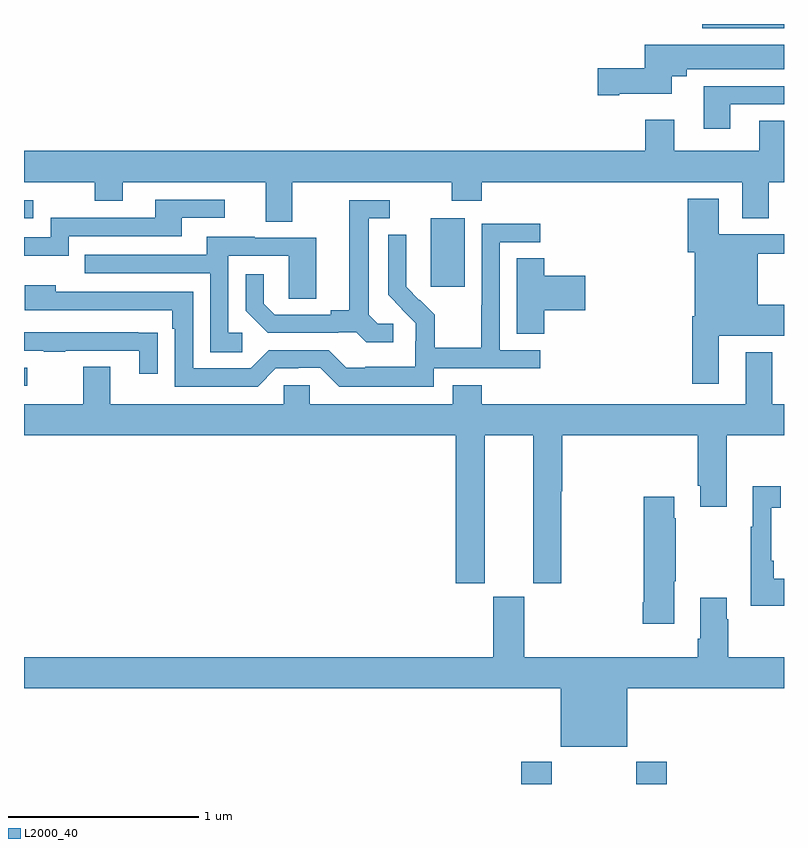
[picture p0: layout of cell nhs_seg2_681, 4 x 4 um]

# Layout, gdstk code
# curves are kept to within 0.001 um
import gdstk
lib = gdstk.Library(unit=1e-6, precision=1e-09)
def R(c, l, rs):  # rectangles x0, y0, x1, y1
    for r in rs: c.add(gdstk.rectangle(r[:2], r[2:], *l))
def P(c, l, *ps):  # polygons
    for p in ps: c.add(gdstk.Polygon(p, *l))
L2000_40 = (2000, 40)

nhs_seg2_681 = lib.new_cell('nhs_seg2_681')
R(nhs_seg2_681, L2000_40, [(147.617,645.8,147.777,645.916), (148.222,645.8,148.382,645.916), (145,647.895,145.018,647.991), (147.14,648.417,147.319,648.778), (145,648.777,145.048,648.873), (148.571,649.778,149,649.8)])
P(nhs_seg2_681, L2000_40, [(148.132,649.433),(148.408,649.433),(148.408,649.526),(148.489,649.526),(148.489,649.562),(149,649.562),(149,649.69),(148.268,649.69),(148.268,649.568),(148.02,649.568),(148.02,649.426),(148.132,649.426)],
  [(148.717,649.377),(149,649.377),(149,649.473),(148.577,649.473),(148.577,649.248),(148.717,649.248)],
  [(146.413,648.968),(147.25,648.968),(147.25,648.869),(147.41,648.869),(147.41,648.968),(148.781,648.968),(148.781,648.778),(148.921,648.778),(148.921,648.968),(149,648.968),(149,649.292),(148.871,649.292),(148.871,649.132),(148.423,649.132),(148.423,649.297),(148.271,649.297),(148.271,649.132),(145,649.132),(145,648.968),(145.372,648.968),(145.372,648.869),(145.519,648.869),(145.519,648.968),(146.273,648.968),(146.273,648.76),(146.413,648.76)],
  [(148.657,648.158),(149,648.158),(149,648.322),(148.861,648.322),(148.861,648.592),(149,648.592),(149,648.693),(148.657,648.693),(148.657,648.88),(148.493,648.88),(148.493,648.6),(148.529,648.6),(148.529,648.262),(148.517,648.262),(148.517,647.907),(148.657,647.907)],
  [(145.236,648.684),(145.831,648.684),(145.831,648.78),(146.056,648.78),(146.056,648.876),(145.691,648.876),(145.691,648.78),(145.14,648.78),(145.14,648.678),(145,648.678),(145,648.581),(145.236,648.581)],
  [(146.944,648.222),(146.862,648.222),(146.815,648.269),(146.815,648.777),(146.926,648.777),(146.926,648.873),(146.711,648.873),(146.711,648.293),(146.615,648.293),(146.615,648.27),(146.32,648.27),(146.263,648.327),(146.263,648.484),(146.166,648.484),(146.166,648.29),(146.282,648.174),(146.654,648.174),(146.654,648.177),(146.748,648.177),(146.8,648.125),(146.944,648.125)],
  [(147.156,647.988),(147.718,647.988),(147.718,648.084),(147.504,648.084),(147.504,648.651),(147.718,648.651),(147.718,648.75),(147.408,648.75),(147.408,648.32),(147.406,648.32),(147.406,648.097),(147.161,648.097),(147.161,648.271),(147.084,648.348),(147.081,648.345),(147.011,648.416),(147.012,648.692),(146.916,648.692),(146.916,648.374),(147.062,648.226),(147.062,648.129),(147.06,648.129),(147.06,647.995),(146.797,647.995),(146.797,647.991),(146.697,647.991),(146.604,648.084),(146.289,648.084),(146.193,647.988),(145.89,647.988),(145.89,648.39),(145.166,648.39),(145.166,648.424),(145.005,648.424),(145.005,648.294),(145.781,648.294),(145.781,648.197),(145.794,648.197),(145.794,647.892),(146.229,647.892),(146.325,647.988),(146.444,647.988),(146.444,647.991),(146.559,647.991),(146.659,647.891),(147.156,647.891)],
  [(146.149,648.174),(146.076,648.174),(146.076,648.579),(146.394,648.579),(146.394,648.355),(146.539,648.355),(146.539,648.675),(146.215,648.675),(146.215,648.679),(145.961,648.679),(145.961,648.585),(145.321,648.585),(145.321,648.489),(145.98,648.489),(145.98,648.073),(146.149,648.073)],
  [(147.737,648.293),(147.955,648.293),(147.955,648.476),(147.737,648.476),(147.737,648.566),(147.593,648.566),(147.593,648.169),(147.737,648.169)],
  [(145.703,648.176),(145.601,648.176),(145.601,648.177),(145,648.177),(145,648.081),(145.105,648.081),(145.105,648.076),(145.217,648.076),(145.217,648.081),(145.607,648.081),(145.607,647.958),(145.703,647.958)],
  [(147.424,647.636),(147.68,647.636),(147.68,646.857),(147.828,646.857),(147.828,647.34),(147.833,647.34),(147.833,647.636),(148.547,647.636),(148.547,647.371),(148.559,647.371),(148.559,647.259),(148.699,647.259),(148.699,647.636),(149,647.636),(149,647.8),(148.939,647.8),(148.939,648.073),(148.799,648.073),(148.799,647.8),(147.41,647.8),(147.41,647.899),(147.257,647.899),(147.257,647.8),(146.505,647.8),(146.505,647.898),(146.367,647.898),(146.367,647.8),(145.453,647.8),(145.453,647.995),(145.313,647.995),(145.313,647.8),(145,647.8),(145,647.636),(147.272,647.636),(147.272,646.857),(147.424,646.857)],
  [(149,646.879),(148.945,646.879),(148.945,646.975),(148.932,646.975),(148.932,647.255),(148.984,647.255),(148.984,647.368),(148.835,647.368),(148.835,647.155),(148.824,647.155),(148.824,646.739),(149,646.739)],
  [(148.423,646.867),(148.431,646.867),(148.431,647.198),(148.423,647.198),(148.423,647.311),(148.261,647.311),(148.261,646.756),(148.256,646.756),(148.256,646.644),(148.423,646.644)],
  [(148.174,646.304),(149,646.304),(149,646.468),(148.707,646.468),(148.707,646.667),(148.699,646.667),(148.699,646.78),(148.559,646.78),(148.559,646.564),(148.547,646.564),(148.547,646.468),(147.634,646.468),(147.634,646.785),(147.47,646.785),(147.47,646.468),(145,646.468),(145,646.304),(147.824,646.304),(147.824,645.995),(148.174,645.995)])

lib.write_gds('nhs_seg2_681.gds')
